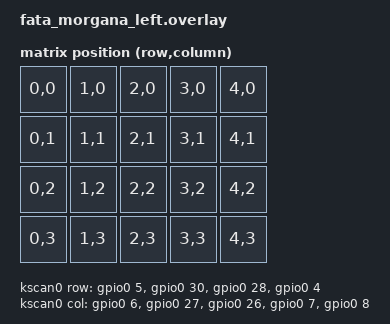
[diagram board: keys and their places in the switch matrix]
#include <dt-bindings/zmk/matrix_transform.h>

/ {
    chosen {
        zmk,kscan = &kscan0;
        zmk,matrix_transform = &default_transform;
        zmk,physical-layout = &default_layout;
    };

    default_transform: keymap_transform_0 {
        compatible = "zmk,matrix-transform";
        columns = <5>;
        rows = <4>;
        // Mirror the left side layout for right side
        map = <
            RC(0, 0) RC(1, 0) RC(2, 0) RC(3, 0) RC(4, 0) 
            RC(0, 1) RC(1, 1) RC(2, 1) RC(3, 1) RC(4, 1) 
            RC(0, 2) RC(1, 2) RC(2, 2) RC(3, 2) RC(4, 2) 
            RC(0, 3) RC(1, 3) RC(2, 3) RC(3, 3) RC(4, 3) 
        >;
    };

    kscan0: kscan {
        compatible = "zmk,kscan-gpio-matrix";
        label = "KSCAN";
        diode-direction = "col2row";
        row-gpios
            = <&gpio0 5 (GPIO_ACTIVE_HIGH | GPIO_PULL_DOWN)>   // R1 - Black -> A1 (P0.05 - HS)
            , <&gpio0 30 (GPIO_ACTIVE_HIGH | GPIO_PULL_DOWN)>  // R2 - Yellow -> A2 (P0.30 - LS)
            , <&gpio0 28 (GPIO_ACTIVE_HIGH | GPIO_PULL_DOWN)>  // R3 - Green -> A3 (P0.28 - LS)
            , <&gpio0 4 (GPIO_ACTIVE_HIGH | GPIO_PULL_DOWN)>   // TR - Red -> A0 (P0.04 - HS)
            ;


        col-gpios
            = <&gpio0  6 (GPIO_ACTIVE_HIGH)>  // O C1 - 11 (P0.6)
            , <&gpio0 27 (GPIO_ACTIVE_HIGH)>  // W C2 - 10 (P0.27)
            , <&gpio0 26 (GPIO_ACTIVE_HIGH)>  // B C3 - 9 (P0.26)
            , <&gpio0  7 (GPIO_ACTIVE_HIGH)>  // G C4 - 6 (P0.7)
            , <&gpio0  8 (GPIO_ACTIVE_HIGH)>  // Y C5 - 5 (P0.8)
            ;
    };
};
